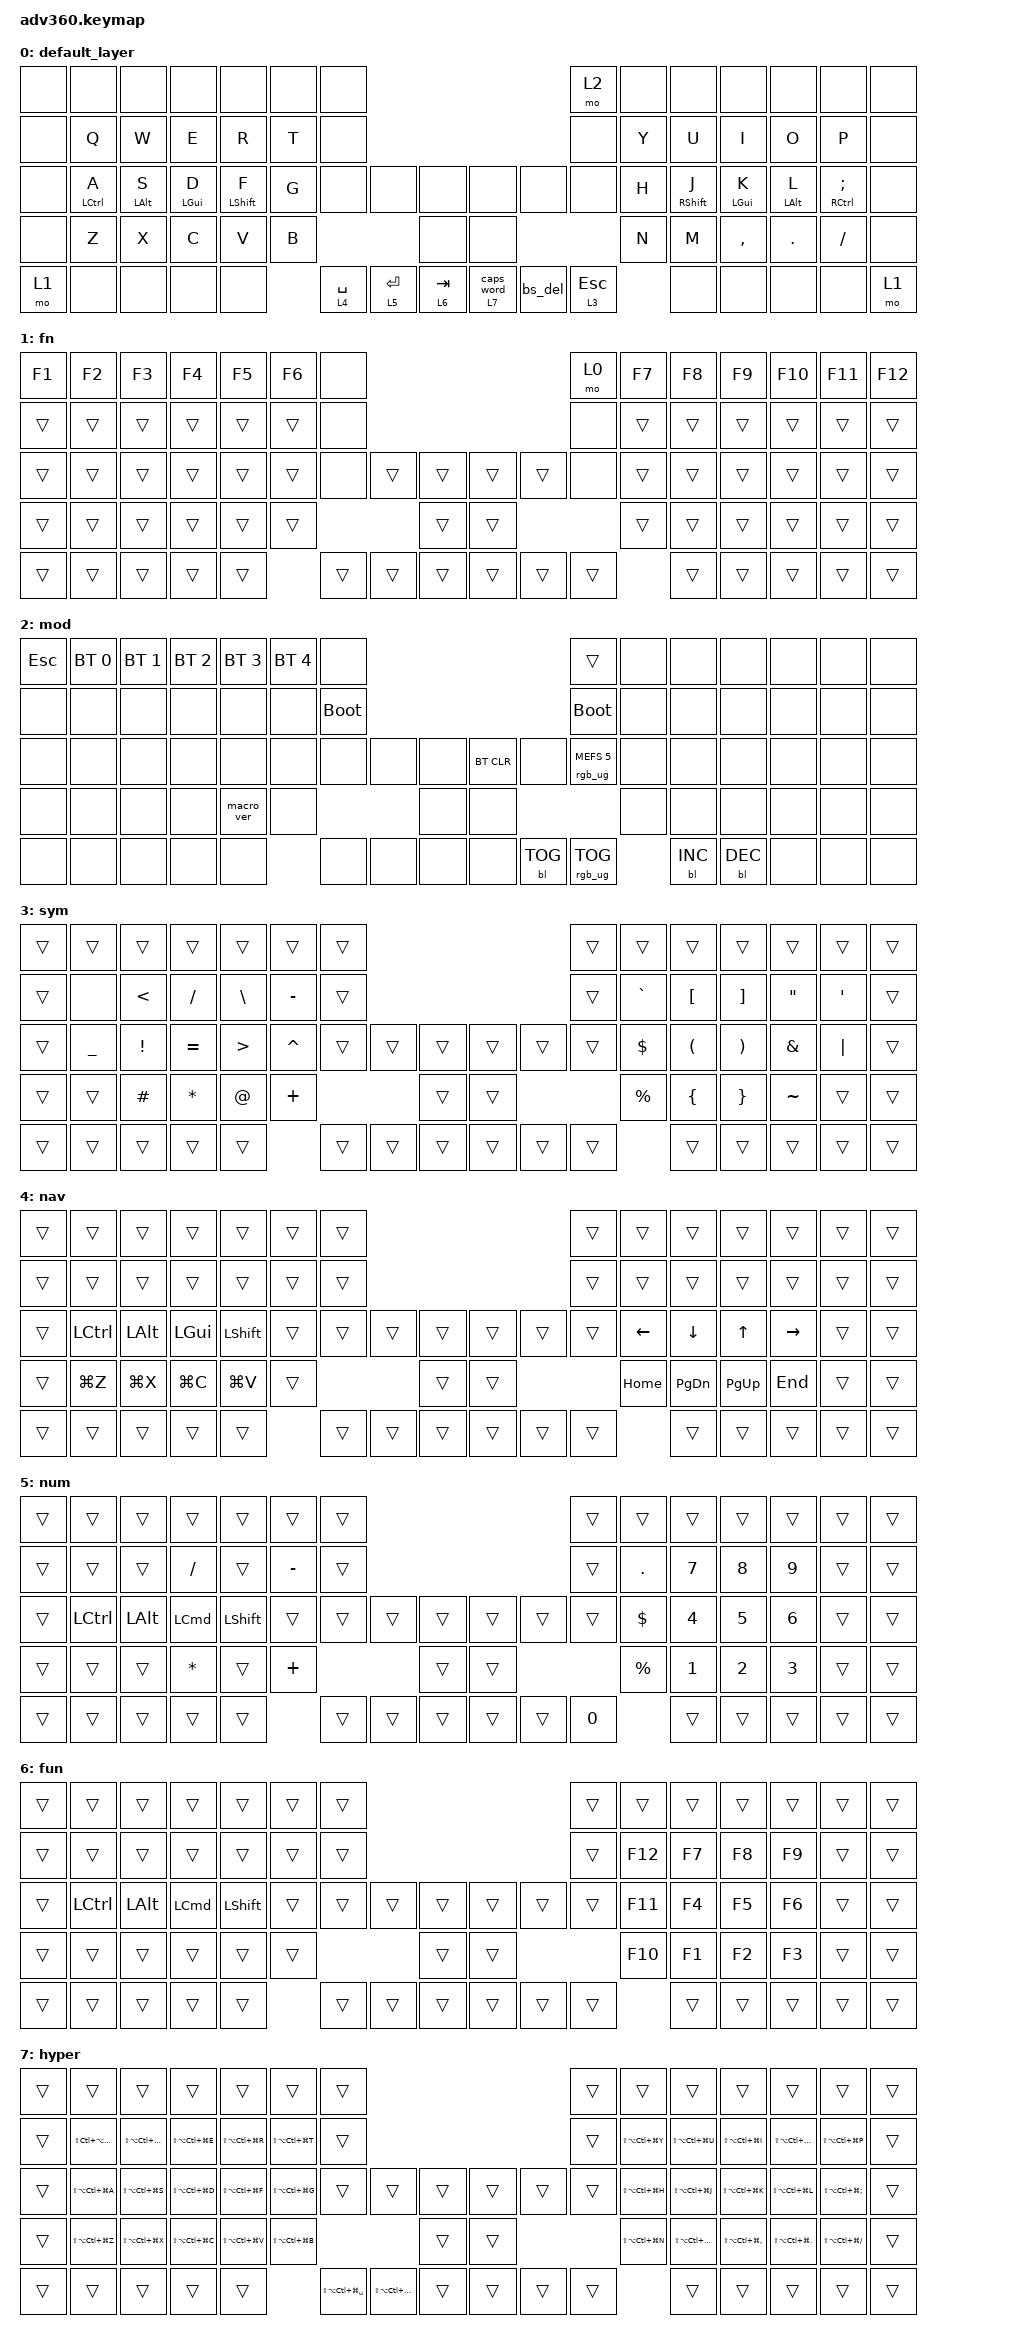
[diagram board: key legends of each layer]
#include <dt-bindings/zmk/stp.h>
#include <behaviors.dtsi>
#include <dt-bindings/zmk/backlight.h>
#include <dt-bindings/zmk/bt.h>
#include <dt-bindings/zmk/keys.h>
#include <dt-bindings/zmk/rgb.h>

#define KEYS_L   0  1  2  3  4  5  6 \
                14 15 16 17 18 19 20 \
                28 29 30 31 32 33 34 \
                46 47 48 49 50 51    \
                60 61 62 63 64
#define THUMBS_LEFT     35 36 \
                           52 \
                     65 66 67
#define KEYS_R   7  8  9 10 11 12 13 \
                21 22 23 24 25 26 27 \
                39 40 41 42 43 44 45 \
                   54 55 56 57 58 59 \
                      71 72 73 74 75
#define THUMBS_RIGHT 37 38    \
                     53       \
                     68 69 70
#define QUICK_TAP_MS 175

/ {
    behaviors {
        #include "macros.dtsi"
      #include "version.dtsi"
      #ifndef VERSION_MACRO

        macro_ver: macro_ver {
            compatible = "zmk,behavior-macro";
            label = "macro_version";
            #binding-cells = <0>;
            bindings = <&kp RET>;
        };

        #endif

        mlt: momentary_layer_tap {
            compatible = "zmk,behavior-hold-tap";
            label = "MOMENTARY_LAYER_TAP";
            #binding-cells = <2>;
            flavor = "balanced";
            tapping-term-ms = <200>;
            quick-tap-ms = <QUICK_TAP_MS>;
            global-quick-tap;
            retro-tap;
            bindings = <&mo>, <&kp>;
        };

        hml: homerow_mods_left {
            compatible = "zmk,behavior-hold-tap";
            label = "HOMEROW_MODS_LEFT";
            #binding-cells = <2>;
            tapping-term-ms = <300>;
            flavor = "balanced";
            bindings = <&kp>, <&kp>;

            require-prior-idle-ms = <150>;
            hold-trigger-key-positions = <KEYS_R>;
            quick-tap-ms = <QUICK_TAP_MS>;
            hold-trigger-on-release;
        };

        hmr: homerow_mods_right {
            compatible = "zmk,behavior-hold-tap";
            label = "HOMEROW_MODS_RIGHT";
            #binding-cells = <2>;
            tapping-term-ms = <300>;
            flavor = "balanced";
            bindings = <&kp>, <&kp>;

            require-prior-idle-ms = <150>;
            hold-trigger-key-positions = <KEYS_L>;
            quick-tap-ms = <QUICK_TAP_MS>;
            hold-trigger-on-release;
        };

        bs_del: bs_del {
            compatible = "zmk,behavior-mod-morph";
            label = "BS_DEL";
            bindings = <&kp BACKSPACE>, <&kp DEL>;

            #binding-cells = <0>;
            mods = <(MOD_LSFT|MOD_RSFT)>;
        };

        mo_capsword: mo_capsword {
            compatible = "zmk,behavior-hold-tap";
            label = "MO_CAPSWORD";
            #binding-cells = <2>;
            flavor = "tap-preferred";
            tapping-term-ms = <200>;
            quick-tap-ms = <QUICK_TAP_MS>;
            global-quick-tap;
            retro-tap;
            bindings = <&mo>, <&caps_word>;
        };
    };

    macros {
    };

    combos {
        compatible = "zmk,combos";

        tab {
            bindings = <&kp TAB>;
            key-positions = <31 30>;
            require-prior-idle-ms = <150>;
            timeout-ms = <50>;
        };
    };

    keymap {
        compatible = "zmk,keymap";

        default_layer {
            bindings = <
&none  &none         &none        &none            &none          &none  &none                                                                  &mo 2          &none  &none          &none        &none        &none            &none
&none  &kp Q         &kp W        &kp E            &kp R          &kp T  &none                                                                  &none          &kp Y  &kp U          &kp I        &kp O        &kp P            &none
&none  &hml LCTRL A  &hml LALT S  &hml LEFT_GUI D  &hml LSHIFT F  &kp G  &none         &none         &none           &none             &none    &none          &kp H  &hmr RSHIFT J  &hmr LGUI K  &hmr LALT L  &hmr RCTRL SEMI  &none
&none  &kp Z         &kp X        &kp C            &kp V          &kp B                              &none           &none                                     &kp N  &kp M          &kp COMMA    &kp DOT      &kp SLASH        &none
&mo 1  &none         &none        &none            &none                 &mlt 4 SPACE  &mlt 5 ENTER  &mlt 6 TAB      &mo_capsword 7 0  &bs_del  &mlt 3 ESCAPE         &none          &none        &none        &none            &mo 1
            >;
        };

        fn {
            bindings = <
&kp F1  &kp F2  &kp F3  &kp F4  &kp F5  &kp F6  &none                                       &mo 0   &kp F7  &kp F8  &kp F9  &kp F10  &kp F11  &kp F12
&trans  &trans  &trans  &trans  &trans  &trans  &none                                       &none   &trans  &trans  &trans  &trans   &trans   &trans
&trans  &trans  &trans  &trans  &trans  &trans  &none   &trans  &trans      &trans  &trans  &none   &trans  &trans  &trans  &trans   &trans   &trans
&trans  &trans  &trans  &trans  &trans  &trans                  &trans      &trans                  &trans  &trans  &trans  &trans   &trans   &trans
&trans  &trans  &trans  &trans  &trans          &trans  &trans  &trans      &trans  &trans  &trans          &trans  &trans  &trans   &trans   &trans
            >;
        };

        mod {
            bindings = <
&kp ESC  &bt BT_SEL 0  &bt BT_SEL 1  &bt BT_SEL 2  &bt BT_SEL 3  &bt BT_SEL 4  &none                                                  &trans                  &none  &none       &none       &none  &none  &none
&none    &none         &none         &none         &none         &none         &bootloader                                            &bootloader             &none  &none       &none       &none  &none  &none
&none    &none         &none         &none         &none         &none         &none        &none  &none      &bt BT_CLR  &none       &rgb_ug RGB_MEFS_CMD 5  &none  &none       &none       &none  &none  &none
&none    &none         &none         &none         &macro_ver    &none                             &none      &none                                           &none  &none       &none       &none  &none  &none
&none    &none         &none         &none         &none                       &none        &none  &none      &none       &bl BL_TOG  &rgb_ug RGB_TOG                &bl BL_INC  &bl BL_DEC  &none  &none  &none
            >;
        };

        sym {
            bindings = <
&trans  &trans     &trans         &trans     &trans            &trans     &trans                                      &trans  &trans       &trans                &trans                 &trans             &trans            &trans
&trans  &none      &kp LESS_THAN  &kp SLASH  &kp BACKSLASH     &kp MINUS  &trans                                      &trans  &kp GRAVE    &kp LEFT_BRACKET      &kp RIGHT_BRACKET      &kp DOUBLE_QUOTES  &kp SINGLE_QUOTE  &trans
&trans  &kp UNDER  &kp EXCL       &kp EQUAL  &kp GREATER_THAN  &kp CARET  &trans  &trans  &trans      &trans  &trans  &trans  &kp DOLLAR   &kp LEFT_PARENTHESIS  &kp RIGHT_PARENTHESIS  &kp AMPS           &kp PIPE          &trans
&trans  &trans     &kp HASH       &kp ASTRK  &kp AT            &kp PLUS                   &trans      &trans                  &kp PERCENT  &kp LEFT_BRACE        &kp RIGHT_BRACE        &kp TILDE          &trans            &trans
&trans  &trans     &trans         &trans     &trans                       &trans  &trans  &trans      &trans  &trans  &trans               &trans                &trans                 &trans             &trans            &trans
            >;
        };

        nav {
            bindings = <
&trans  &trans     &trans     &trans     &trans     &trans  &trans                                      &trans  &trans    &trans         &trans       &trans     &trans  &trans
&trans  &trans     &trans     &trans     &trans     &trans  &trans                                      &trans  &trans    &trans         &trans       &trans     &trans  &trans
&trans  &kp LCTRL  &kp LALT   &kp LGUI   &kp LSHFT  &trans  &trans  &trans  &trans      &trans  &trans  &trans  &kp LEFT  &kp DOWN       &kp UP       &kp RIGHT  &trans  &trans
&trans  &kp LG(Z)  &kp LG(X)  &kp LG(C)  &kp LG(V)  &trans                  &trans      &trans                  &kp HOME  &kp PAGE_DOWN  &kp PAGE_UP  &kp END    &trans  &trans
&trans  &trans     &trans     &trans     &trans             &trans  &trans  &trans      &trans  &trans  &trans            &trans         &trans       &trans     &trans  &trans
            >;
        };

        num {
            bindings = <
&trans  &trans     &trans    &trans     &trans          &trans     &trans                                      &trans  &trans       &trans  &trans        &trans  &trans  &trans
&trans  &trans     &trans    &kp SLASH  &trans          &kp MINUS  &trans                                      &trans  &kp DOT      &kp N7  &kp N8        &kp N9  &trans  &trans
&trans  &kp LCTRL  &kp LALT  &kp LCMD   &kp LEFT_SHIFT  &trans     &trans  &trans  &trans      &trans  &trans  &trans  &kp DOLLAR   &kp N4  &kp N5        &kp N6  &trans  &trans
&trans  &trans     &trans    &kp ASTRK  &trans          &kp PLUS                   &trans      &trans                  &kp PERCENT  &kp N1  &kp NUMBER_2  &kp N3  &trans  &trans
&trans  &trans     &trans    &trans     &trans                     &trans  &trans  &trans      &trans  &trans  &kp N0               &trans  &trans        &trans  &trans  &trans
            >;
        };

        fun {
            bindings = <
&trans  &trans     &trans    &trans    &trans     &trans  &trans                                      &trans  &trans   &trans  &trans  &trans  &trans  &trans
&trans  &trans     &trans    &trans    &trans     &trans  &trans                                      &trans  &kp F12  &kp F7  &kp F8  &kp F9  &trans  &trans
&trans  &kp LCTRL  &kp LALT  &kp LCMD  &kp LSHFT  &trans  &trans  &trans  &trans      &trans  &trans  &trans  &kp F11  &kp F4  &kp F5  &kp F6  &trans  &trans
&trans  &trans     &trans    &trans    &trans     &trans                  &trans      &trans                  &kp F10  &kp F1  &kp F2  &kp F3  &trans  &trans
&trans  &trans     &trans    &trans    &trans             &trans  &trans  &trans      &trans  &trans  &trans           &trans  &trans  &trans  &trans  &trans
            >;
        };

        hyper {
            bindings = <
&trans  &trans                 &trans                 &trans                 &trans                 &trans                 &trans                                                                            &trans  &trans                 &trans                 &trans                     &trans                   &trans                    &trans
&trans  &kp LS(LC(LA(LG(Q))))  &kp LS(LA(LC(LG(W))))  &kp LS(LA(LC(LG(E))))  &kp LS(LA(LC(LG(R))))  &kp LS(LA(LC(LG(T))))  &trans                                                                            &trans  &kp LS(LA(LC(LG(Y))))  &kp LS(LA(LC(LG(U))))  &kp LS(LA(LC(LG(I))))      &kp LS(LA(LC(LG(O))))    &kp LS(LA(LC(LG(P))))     &trans
&trans  &kp LS(LA(LC(LG(A))))  &kp LS(LA(LC(LG(S))))  &kp LS(LA(LC(LG(D))))  &kp LS(LA(LC(LG(F))))  &kp LS(LA(LC(LG(G))))  &trans                     &trans                     &trans      &trans  &trans  &trans  &kp LS(LA(LC(LG(H))))  &kp LS(LA(LC(LG(J))))  &kp LS(LA(LC(LG(K))))      &kp LS(LA(LC(LG(L))))    &kp LS(LA(LC(LG(SEMI))))  &trans
&trans  &kp LS(LA(LC(LG(Z))))  &kp LS(LA(LC(LG(X))))  &kp LS(LA(LC(LG(C))))  &kp LS(LA(LC(LG(V))))  &kp LS(LA(LC(LG(B))))                                                        &trans      &trans                  &kp LS(LA(LC(LG(N))))  &kp LS(LA(LC(LG(M))))  &kp LS(LA(LC(LG(COMMA))))  &kp LS(LA(LC(LG(DOT))))  &kp LS(LA(LC(LG(FSLH))))  &trans
&trans  &trans                 &trans                 &trans                 &trans                                        &kp LS(LA(LC(LG(SPACE))))  &kp LS(LA(LC(LG(ENTER))))  &trans      &trans  &trans  &trans                         &trans                 &trans                     &trans                   &trans                    &trans
            >;
        };
    };
};
